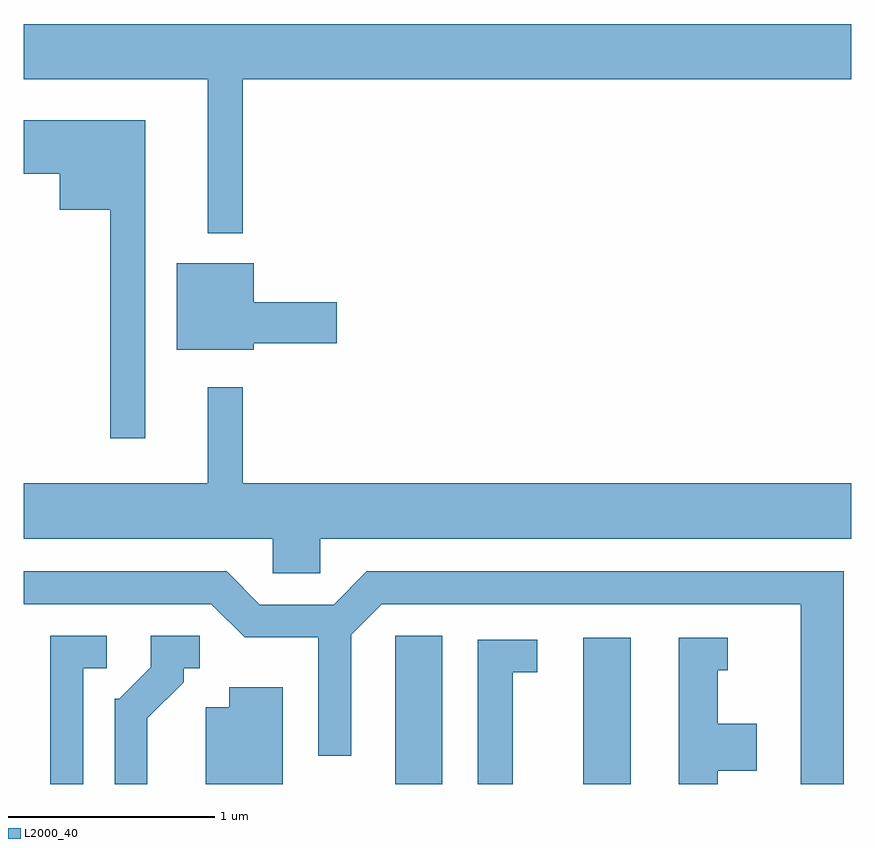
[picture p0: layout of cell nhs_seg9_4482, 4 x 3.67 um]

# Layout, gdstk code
import gdstk
lib = gdstk.Library(unit=1e-6, precision=1e-09)
def R(c, l, rs):  # rectangles x0, y0, x1, y1
    for r in rs: c.add(gdstk.rectangle(r[:2], r[2:], *l))
def P(c, l, *ps):  # polygons
    for p in ps: c.add(gdstk.Polygon(p, *l))
L2000_40 = (2000, 40)

nhs_seg9_4482 = lib.new_cell('nhs_seg9_4482')
R(nhs_seg9_4482, L2000_40, [(319.406,1968.432,319.634,1969.149), (320.316,1968.432,320.544,1969.139)])
P(nhs_seg9_4482, L2000_40, [(318.669,1971.836),(321.611,1971.836),(321.611,1972.104),(317.611,1972.104),(317.611,1971.836),(318.501,1971.836),(318.501,1971.093),(318.669,1971.093)],
  [(318.199,1971.639),(317.611,1971.639),(317.611,1971.381),(317.786,1971.381),(317.786,1971.206),(318.031,1971.206),(318.031,1970.103),(318.199,1970.103)],
  [(318.724,1970.561),(319.124,1970.561),(319.124,1970.759),(318.724,1970.759),(318.724,1970.949),(318.351,1970.949),(318.351,1970.531),(318.724,1970.531)],
  [(319.044,1969.616),(321.611,1969.616),(321.611,1969.884),(318.669,1969.884),(318.669,1970.348),(318.501,1970.348),(318.501,1969.884),(317.611,1969.884),(317.611,1969.616),(318.816,1969.616),(318.816,1969.451),(319.044,1969.451)],
  [(321.574,1969.459),(319.269,1969.459),(319.109,1969.299),(318.752,1969.299),(318.592,1969.459),(317.611,1969.459),(317.611,1969.301),(318.519,1969.301),(318.679,1969.141),(319.036,1969.141),(319.036,1968.568),(319.194,1968.568),(319.194,1969.154),(319.342,1969.301),(321.366,1969.301),(321.366,1968.432),(321.574,1968.432)],
  [(318.209,1968.749),(318.384,1968.924),(318.384,1968.991),(318.463,1968.991),(318.463,1969.149),(318.226,1969.149),(318.226,1968.997),(318.074,1968.844),(318.051,1968.844),(318.051,1968.432),(318.209,1968.432)],
  [(317.899,1968.991),(318.013,1968.991),(318.013,1969.149),(317.741,1969.149),(317.741,1968.432),(317.899,1968.432)],
  [(320.964,1968.496),(321.154,1968.496),(321.154,1968.724),(320.964,1968.724),(320.964,1968.981),(321.013,1968.981),(321.013,1969.139),(320.776,1969.139),(320.776,1968.432),(320.964,1968.432)],
  [(319.974,1968.971),(320.093,1968.971),(320.093,1969.129),(319.806,1969.129),(319.806,1968.432),(319.974,1968.432)],
  [(318.864,1968.899),(318.606,1968.899),(318.606,1968.804),(318.491,1968.804),(318.491,1968.432),(318.864,1968.432)])

lib.write_gds('nhs_seg9_4482.gds')
